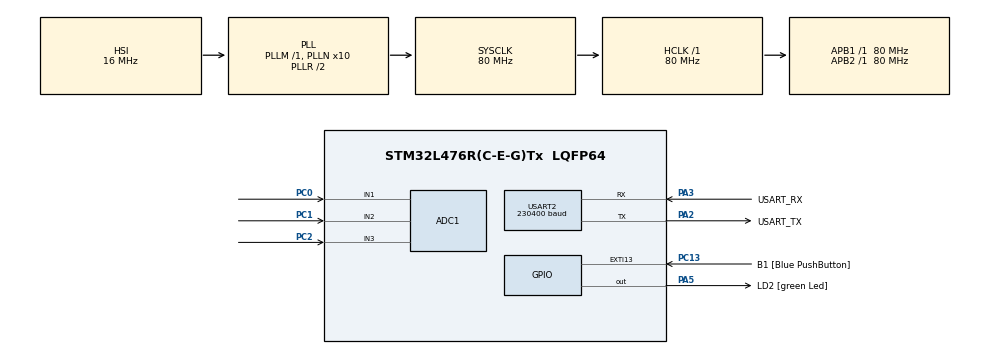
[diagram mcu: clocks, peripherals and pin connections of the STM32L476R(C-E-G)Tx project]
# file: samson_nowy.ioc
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ADC1.Channel-0\#ChannelRegularConversion=ADC_CHANNEL_1
ADC1.Channel-1\#ChannelRegularConversion=ADC_CHANNEL_2
ADC1.Channel-2\#ChannelRegularConversion=ADC_CHANNEL_3
ADC1.ClockPrescaler=ADC_CLOCK_ASYNC_DIV1
ADC1.ContinuousConvMode=ENABLE
ADC1.DMAContinuousRequests=ENABLE
ADC1.EOCSelection=ADC_EOC_SINGLE_CONV
ADC1.NbrOfConversion=3
ADC1.NbrOfConversionFlag=1
ADC1.OffsetNumber-0\#ChannelRegularConversion=ADC_OFFSET_NONE
ADC1.OffsetNumber-1\#ChannelRegularConversion=ADC_OFFSET_NONE
ADC1.OffsetNumber-2\#ChannelRegularConversion=ADC_OFFSET_NONE
ADC1.OversamplingMode=DISABLE
ADC1.Rank-0\#ChannelRegularConversion=1
ADC1.Rank-1\#ChannelRegularConversion=2
ADC1.Rank-2\#ChannelRegularConversion=3
ADC1.SamplingTime-0\#ChannelRegularConversion=ADC_SAMPLETIME_640CYCLES_5
ADC1.SamplingTime-1\#ChannelRegularConversion=ADC_SAMPLETIME_640CYCLES_5
ADC1.SamplingTime-2\#ChannelRegularConversion=ADC_SAMPLETIME_640CYCLES_5
ADC1.master=1
Dma.ADC1.0.Direction=DMA_PERIPH_TO_MEMORY
Dma.ADC1.0.Instance=DMA1_Channel1
Dma.ADC1.0.MemDataAlignment=DMA_MDATAALIGN_HALFWORD
Dma.ADC1.0.MemInc=DMA_MINC_ENABLE
Dma.ADC1.0.Mode=DMA_CIRCULAR
Dma.ADC1.0.PeriphDataAlignment=DMA_PDATAALIGN_HALFWORD
Dma.ADC1.0.PeriphInc=DMA_PINC_DISABLE
Dma.ADC1.0.Priority=DMA_PRIORITY_LOW
Dma.Request0=ADC1
Mcu.Family=STM32L4
Mcu.Name=STM32L476R(C-E-G)Tx
Mcu.Package=LQFP64
Mcu.UserConstants=TIM6_PERIOD,999;TIM6_PRESCALER_2kHz,39;TIM6_PRESCALER_1kHz,79
NVIC.DMA1_Channel1_IRQn=true\:2\:0\:true\:false\:true\:false\:true
NVIC.PriorityGroup=NVIC_PRIORITYGROUP_4
NVIC.TIM6_DAC_IRQn=true\:3\:0\:true\:false\:true\:true\:true
PA13\ (JTMS-SWDIO).GPIO_Label=TMS
PA13\ (JTMS-SWDIO).Mode=Serial_Wire
PA13\ (JTMS-SWDIO).Signal=SYS_JTMS-SWDIO
PA14\ (JTCK-SWCLK).GPIO_Label=TCK
PA14\ (JTCK-SWCLK).Mode=Serial_Wire
PA14\ (JTCK-SWCLK).Signal=SYS_JTCK-SWCLK
PA2.GPIO_Label=USART_TX
PA2.GPIO_Mode=GPIO_MODE_AF_PP
PA2.GPIO_PuPd=GPIO_NOPULL
PA2.GPIO_Speed=GPIO_SPEED_FREQ_VERY_HIGH
PA2.Mode=Asynchronous
PA2.Signal=USART2_TX
PA3.GPIO_Label=USART_RX
PA3.GPIO_Mode=GPIO_MODE_AF_PP
PA3.GPIO_PuPd=GPIO_NOPULL
PA3.GPIO_Speed=GPIO_SPEED_FREQ_VERY_HIGH
PA3.Mode=Asynchronous
PA3.Signal=USART2_RX
PA5.GPIO_Label=LD2 [green Led]
PA5.GPIO_ModeDefaultOutputPP=GPIO_MODE_OUTPUT_PP
PA5.GPIO_PuPd=GPIO_NOPULL
PA5.GPIO_Speed=GPIO_SPEED_FREQ_LOW
PA5.Signal=GPIO_Output
PB3\ (JTDO-TRACESWO).GPIO_Label=SWO
PB3\ (JTDO-TRACESWO).Signal=SYS_JTDO-SWO
PC0.Signal=ADCx_IN1
PC1.Signal=ADCx_IN2
PC13.GPIO_Label=B1 [Blue PushButton]
PC13.GPIO_ModeDefaultEXTI=GPIO_MODE_IT_FALLING
PC13.GPIO_PuPd=GPIO_NOPULL
PC13.Signal=GPXTI13
PC14-OSC32_IN\ (PC14).Mode=LSE-External-Oscillator
PC14-OSC32_IN\ (PC14).Signal=RCC_OSC32_IN
PC15-OSC32_OUT\ (PC15).Mode=LSE-External-Oscillator
PC15-OSC32_OUT\ (PC15).Signal=RCC_OSC32_OUT
PC2.Signal=ADCx_IN3
PH0-OSC_IN\ (PH0).Signal=RCC_OSC_IN
PH1-OSC_OUT\ (PH1).Signal=RCC_OSC_OUT
ProjectManager.HeapSize=0x200
ProjectManager.StackSize=0x400
ProjectManager.TargetToolchain=STM32CubeIDE
RCC.ADCFreq_Value=80000000
RCC.AHBFreq_Value=80000000
RCC.APB1Freq_Value=80000000
RCC.APB1TimFreq_Value=80000000
RCC.APB2Freq_Value=80000000
RCC.APB2TimFreq_Value=80000000
RCC.CortexFreq_Value=80000000
RCC.HCLKFreq_Value=80000000
RCC.HSE_VALUE=8000000
RCC.HSI_VALUE=16000000
RCC.MSI_VALUE=4000000
RCC.PLLN=10
RCC.PLLSAI1N=10
RCC.PLLSourceVirtual=RCC_PLLSOURCE_HSI
RCC.PREFETCH_ENABLE=1
RCC.SYSCLKFreq_VALUE=80000000
RCC.SYSCLKSource=RCC_SYSCLKSOURCE_PLLCLK
RCC.USBFreq_Value=80000000
RCC.VCOOutputFreq_Value=160000000
SH.ADCx_IN1.0=ADC1_IN1,IN1-Single-Ended
SH.ADCx_IN2.0=ADC1_IN2,IN2-Single-Ended
SH.ADCx_IN3.0=ADC1_IN3,IN3-Single-Ended
TIM6.Period=TIM6_PERIOD
TIM6.Prescaler=TIM6_PRESCALER_1kHz
TIM6.TIM_MasterOutputTrigger=TIM_TRGO_UPDATE
USART2.BaudRate=230400
USART2.VirtualMode-Asynchronous=VM_ASYNC
VP_TIM6_VS_ClockSourceINT.Mode=Enable_Timer
board=NUCLEO-L476RG

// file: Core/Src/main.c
/* USER CODE BEGIN Header */
/**
  ******************************************************************************
  * @file           : main.c
  * @brief          : Main program body
  ******************************************************************************
  * @attention
  *
  * <h2><center>&copy; Copyright (c) 2025 STMicroelectronics.
  * All rights reserved.</center></h2>
  *
  * This software component is licensed by ST under BSD 3-Clause license,
  * the "License"; You may not use this file except in compliance with the
  * License. You may obtain a copy of the License at:
  *                        opensource.org/licenses/BSD-3-Clause
  *
  ******************************************************************************
  */
/* USER CODE END Header */
#include "main.h"

/* USER CODE BEGIN Includes */
#include <stdio.h>

/* USER CODE END Includes */

ADC_HandleTypeDef hadc1;
DMA_HandleTypeDef hdma_adc1;

TIM_HandleTypeDef htim6;

UART_HandleTypeDef huart2;

/* USER CODE BEGIN PV */
volatile uint16_t adc_values[3];
volatile uint32_t prev_press_time;
volatile GPIO_PinState prev_state;
volatile uint8_t pressed;
volatile uint8_t started;

/* USER CODE END PV */

void SystemClock_Config(void);
static void MX_GPIO_Init(void);
static void MX_DMA_Init(void);
static void MX_USART2_UART_Init(void);
static void MX_ADC1_Init(void);
static void MX_TIM6_Init(void);

/* USER CODE BEGIN 0 */
int _write(int file, char *ptr, int len) {
    HAL_UART_Transmit(&huart2 , ptr , len , 50);
    return len;
}

uint16_t calculate_CRC16(const uint8_t *data, uint16_t length) {
    uint16_t crc = 0xFFFF;
    for (uint16_t i = 0; i < length; i++) {
        crc ^= data[i];
        for (uint8_t j = 0; j < 8; j++) {
            if (crc & 0x0001) {
                crc >>= 1;
                crc ^= 0xA001;
            } else {
                crc >>= 1;
            }
        }
    }
    return crc;
}

void send_adc_value() {
    uint8_t frame[9];
    uint8_t adc[2];
    frame[0] = 0xAA;
    frame[1] = (adc_values[0] >> 8) & 0xFF;
    frame[2] = adc_values[0] & 0xFF;
    frame[3] = (adc_values[1] >> 8) & 0xFF;
    frame[4] = adc_values[1] & 0xFF;
    frame[5] = (adc_values[2] >> 8) & 0xFF;
    frame[6] = adc_values[2] & 0xFF;
    uint16_t crc;
    crc = calculate_CRC16(&frame[1], 6);
    frame[7] = (crc >> 8) & 0xFF;
    frame[8] = crc & 0xFF;
//    printf("%d, %d, %d\n\r", adc_values[0], adc_values[1], adc_values[2]);
    adc[0] = (adc_values[1] >> 8) & 0xFF;
    adc[1] = adc_values[1] & 0xFF;
//    HAL_UART_Transmit(&huart2, adc, 2, HAL_MAX_DELAY);

    HAL_UART_Transmit(&huart2, frame, 9, HAL_MAX_DELAY);
}

void send_start_frame(){
	uint8_t start_frame[9];
	start_frame[0] = 0xCC;
	start_frame[1] = start_frame[0];
	start_frame[2] = start_frame[0];
	start_frame[3] = start_frame[0];
	start_frame[4] = start_frame[0];
	start_frame[5] = start_frame[0];
	start_frame[6] = start_frame[0];
	start_frame[7] = start_frame[0];
	start_frame[8] = start_frame[0];
	HAL_UART_Transmit(&huart2, start_frame, 9, HAL_MAX_DELAY);
	pressed++;
}

void send_end_frame(){
	uint8_t end_frame[9];
	end_frame[0] = 0x99;
	end_frame[1] = end_frame[0];
	end_frame[2] = end_frame[0];
	end_frame[3] = end_frame[0];
	end_frame[4] = end_frame[0];
	end_frame[5] = end_frame[0];
	end_frame[6] = end_frame[0];
	end_frame[7] = end_frame[0];
	end_frame[8] = end_frame[0];
	HAL_UART_Transmit(&huart2, end_frame, 9, HAL_MAX_DELAY);
	pressed=0;
}

void HAL_TIM_PeriodElapsedCallback(TIM_HandleTypeDef *htim){
  if (htim == &htim6) {
	  if(pressed==1){
		  send_start_frame();
	  }
	  else if(pressed==2){
		  send_adc_value();
	  }
	  else if(pressed==3){
		  send_end_frame();
	  }
  }
}

/* USER CODE END 0 */

int main(void)
{

  /* MCU Configuration--------------------------------------------------------*/

  /* Reset of all peripherals, Initializes the Flash interface and the Systick. */
  HAL_Init();

  /* Configure the system clock */
  SystemClock_Config();

  /* Initialize all configured peripherals */
  MX_GPIO_Init();
  MX_DMA_Init();
  MX_USART2_UART_Init();
  MX_ADC1_Init();
  MX_TIM6_Init();
  /* USER CODE BEGIN 2 */
  HAL_ADCEx_Calibration_Start(&hadc1, ADC_SINGLE_ENDED);
  HAL_ADC_Start_DMA(&hadc1, (uint32_t*)adc_values, 3);
  HAL_TIM_Base_Start_IT(&htim6);

  prev_press_time = 0;
  prev_state = GPIO_PIN_SET;
  pressed = 0;
  started = 1;

  /* USER CODE END 2 */

  /* Infinite loop */
  /* USER CODE BEGIN WHILE */
  while (1)
  {
	  GPIO_PinState current_state = HAL_GPIO_ReadPin(GPIOC, GPIO_PIN_13);
	  if(current_state != prev_state){
		  if((HAL_GetTick() - prev_press_time) > 50){
			  prev_press_time = HAL_GetTick();
			  prev_state = current_state;
			  if(current_state == GPIO_PIN_RESET){
//				  pressed = !pressed;
				  if(pressed==0 || pressed==2) pressed++;
			  }
		  }
	  }
    /* USER CODE END WHILE */

  }
}

void SystemClock_Config(void)
{
  RCC_OscInitTypeDef RCC_OscInitStruct = {0};
  RCC_ClkInitTypeDef RCC_ClkInitStruct = {0};
  RCC_PeriphCLKInitTypeDef PeriphClkInit = {0};

  /** Initializes the RCC Oscillators according to the specified parameters
  * in the RCC_OscInitTypeDef structure.
  */
  RCC_OscInitStruct.OscillatorType = RCC_OSCILLATORTYPE_HSI;
  RCC_OscInitStruct.HSIState = RCC_HSI_ON;
  RCC_OscInitStruct.HSICalibrationValue = RCC_HSICALIBRATION_DEFAULT;
  RCC_OscInitStruct.PLL.PLLState = RCC_PLL_ON;
  RCC_OscInitStruct.PLL.PLLSource = RCC_PLLSOURCE_HSI;
  RCC_OscInitStruct.PLL.PLLM = 1;
  RCC_OscInitStruct.PLL.PLLN = 10;
  RCC_OscInitStruct.PLL.PLLP = RCC_PLLP_DIV7;
  RCC_OscInitStruct.PLL.PLLQ = RCC_PLLQ_DIV2;
  RCC_OscInitStruct.PLL.PLLR = RCC_PLLR_DIV2;
  if (HAL_RCC_OscConfig(&RCC_OscInitStruct) != HAL_OK)
  {
    Error_Handler();
  }
  /** Initializes the CPU, AHB and APB buses clocks
  */
  RCC_ClkInitStruct.ClockType = RCC_CLOCKTYPE_HCLK|RCC_CLOCKTYPE_SYSCLK
                              |RCC_CLOCKTYPE_PCLK1|RCC_CLOCKTYPE_PCLK2;
  RCC_ClkInitStruct.SYSCLKSource = RCC_SYSCLKSOURCE_PLLCLK;
  RCC_ClkInitStruct.AHBCLKDivider = RCC_SYSCLK_DIV1;
  RCC_ClkInitStruct.APB1CLKDivider = RCC_HCLK_DIV1;
  RCC_ClkInitStruct.APB2CLKDivider = RCC_HCLK_DIV1;

  if (HAL_RCC_ClockConfig(&RCC_ClkInitStruct, FLASH_LATENCY_4) != HAL_OK)
  {
    Error_Handler();
  }
  PeriphClkInit.PeriphClockSelection = RCC_PERIPHCLK_USART2|RCC_PERIPHCLK_ADC;
  PeriphClkInit.Usart2ClockSelection = RCC_USART2CLKSOURCE_PCLK1;
  PeriphClkInit.AdcClockSelection = RCC_ADCCLKSOURCE_PLLSAI1;
  PeriphClkInit.PLLSAI1.PLLSAI1Source = RCC_PLLSOURCE_HSI;
  PeriphClkInit.PLLSAI1.PLLSAI1M = 1;
  PeriphClkInit.PLLSAI1.PLLSAI1N = 10;
  PeriphClkInit.PLLSAI1.PLLSAI1P = RCC_PLLP_DIV7;
  PeriphClkInit.PLLSAI1.PLLSAI1Q = RCC_PLLQ_DIV2;
  PeriphClkInit.PLLSAI1.PLLSAI1R = RCC_PLLR_DIV2;
  PeriphClkInit.PLLSAI1.PLLSAI1ClockOut = RCC_PLLSAI1_ADC1CLK;
  if (HAL_RCCEx_PeriphCLKConfig(&PeriphClkInit) != HAL_OK)
  {
    Error_Handler();
  }
  /** Configure the main internal regulator output voltage
  */
  if (HAL_PWREx_ControlVoltageScaling(PWR_REGULATOR_VOLTAGE_SCALE1) != HAL_OK)
  {
    Error_Handler();
  }
}

static void MX_ADC1_Init(void)
{

  ADC_MultiModeTypeDef multimode = {0};
  ADC_ChannelConfTypeDef sConfig = {0};

  /** Common config
  */
  hadc1.Instance = ADC1;
  hadc1.Init.ClockPrescaler = ADC_CLOCK_ASYNC_DIV1;
  hadc1.Init.Resolution = ADC_RESOLUTION_12B;
  hadc1.Init.DataAlign = ADC_DATAALIGN_RIGHT;
  hadc1.Init.ScanConvMode = ADC_SCAN_ENABLE;
  hadc1.Init.EOCSelection = ADC_EOC_SINGLE_CONV;
  hadc1.Init.LowPowerAutoWait = DISABLE;
  hadc1.Init.ContinuousConvMode = ENABLE;
  hadc1.Init.NbrOfConversion = 3;
  hadc1.Init.DiscontinuousConvMode = DISABLE;
  hadc1.Init.ExternalTrigConv = ADC_SOFTWARE_START;
  hadc1.Init.ExternalTrigConvEdge = ADC_EXTERNALTRIGCONVEDGE_NONE;
  hadc1.Init.DMAContinuousRequests = ENABLE;
  hadc1.Init.Overrun = ADC_OVR_DATA_PRESERVED;
  hadc1.Init.OversamplingMode = DISABLE;
  if (HAL_ADC_Init(&hadc1) != HAL_OK)
  {
    Error_Handler();
  }
  /** Configure the ADC multi-mode
  */
  multimode.Mode = ADC_MODE_INDEPENDENT;
  if (HAL_ADCEx_MultiModeConfigChannel(&hadc1, &multimode) != HAL_OK)
  {
    Error_Handler();
  }
  /** Configure Regular Channel
  */
  sConfig.Channel = ADC_CHANNEL_1;
  sConfig.Rank = ADC_REGULAR_RANK_1;
  sConfig.SamplingTime = ADC_SAMPLETIME_640CYCLES_5;
  sConfig.SingleDiff = ADC_SINGLE_ENDED;
  sConfig.OffsetNumber = ADC_OFFSET_NONE;
  sConfig.Offset = 0;
  if (HAL_ADC_ConfigChannel(&hadc1, &sConfig) != HAL_OK)
  {
    Error_Handler();
  }
  /** Configure Regular Channel
  */
  sConfig.Channel = ADC_CHANNEL_2;
  sConfig.Rank = ADC_REGULAR_RANK_2;
  if (HAL_ADC_ConfigChannel(&hadc1, &sConfig) != HAL_OK)
  {
    Error_Handler();
  }
  /** Configure Regular Channel
  */
  sConfig.Channel = ADC_CHANNEL_3;
  sConfig.Rank = ADC_REGULAR_RANK_3;
  if (HAL_ADC_ConfigChannel(&hadc1, &sConfig) != HAL_OK)
  {
    Error_Handler();
  }

}

static void MX_TIM6_Init(void)
{

  TIM_MasterConfigTypeDef sMasterConfig = {0};

  htim6.Instance = TIM6;
  htim6.Init.Prescaler = TIM6_PRESCALER_1kHz;
  htim6.Init.CounterMode = TIM_COUNTERMODE_UP;
  htim6.Init.Period = TIM6_PERIOD;
  htim6.Init.AutoReloadPreload = TIM_AUTORELOAD_PRELOAD_DISABLE;
  if (HAL_TIM_Base_Init(&htim6) != HAL_OK)
  {
    Error_Handler();
  }
  sMasterConfig.MasterOutputTrigger = TIM_TRGO_UPDATE;
  sMasterConfig.MasterSlaveMode = TIM_MASTERSLAVEMODE_DISABLE;
  if (HAL_TIMEx_MasterConfigSynchronization(&htim6, &sMasterConfig) != HAL_OK)
  {
    Error_Handler();
  }

}

static void MX_USART2_UART_Init(void)
{

  huart2.Instance = USART2;
  huart2.Init.BaudRate = 230400;
  huart2.Init.WordLength = UART_WORDLENGTH_8B;
  huart2.Init.StopBits = UART_STOPBITS_1;
  huart2.Init.Parity = UART_PARITY_NONE;
  huart2.Init.Mode = UART_MODE_TX_RX;
  huart2.Init.HwFlowCtl = UART_HWCONTROL_NONE;
  huart2.Init.OverSampling = UART_OVERSAMPLING_16;
  huart2.Init.OneBitSampling = UART_ONE_BIT_SAMPLE_DISABLE;
  huart2.AdvancedInit.AdvFeatureInit = UART_ADVFEATURE_NO_INIT;
  if (HAL_UART_Init(&huart2) != HAL_OK)
  {
    Error_Handler();
  }

}

static void MX_DMA_Init(void)
{

  /* DMA controller clock enable */
  __HAL_RCC_DMA1_CLK_ENABLE();

  /* DMA interrupt init */
  /* DMA1_Channel1_IRQn interrupt configuration */
  HAL_NVIC_SetPriority(DMA1_Channel1_IRQn, 2, 0);
  HAL_NVIC_EnableIRQ(DMA1_Channel1_IRQn);

}

static void MX_GPIO_Init(void)
{
  GPIO_InitTypeDef GPIO_InitStruct = {0};

  /* GPIO Ports Clock Enable */
  __HAL_RCC_GPIOC_CLK_ENABLE();
  __HAL_RCC_GPIOH_CLK_ENABLE();
  __HAL_RCC_GPIOA_CLK_ENABLE();
  __HAL_RCC_GPIOB_CLK_ENABLE();

  /*Configure GPIO pin Output Level */
  HAL_GPIO_WritePin(LD2_GPIO_Port, LD2_Pin, GPIO_PIN_RESET);

  /*Configure GPIO pin : B1_Pin */
  GPIO_InitStruct.Pin = B1_Pin;
  GPIO_InitStruct.Mode = GPIO_MODE_IT_FALLING;
  GPIO_InitStruct.Pull = GPIO_NOPULL;
  HAL_GPIO_Init(B1_GPIO_Port, &GPIO_InitStruct);

  /*Configure GPIO pin : LD2_Pin */
  GPIO_InitStruct.Pin = LD2_Pin;
  GPIO_InitStruct.Mode = GPIO_MODE_OUTPUT_PP;
  GPIO_InitStruct.Pull = GPIO_NOPULL;
  GPIO_InitStruct.Speed = GPIO_SPEED_FREQ_LOW;
  HAL_GPIO_Init(LD2_GPIO_Port, &GPIO_InitStruct);

}

void Error_Handler(void)
{
}

/************************ (C) COPYRIGHT STMicroelectronics *****END OF FILE****/
